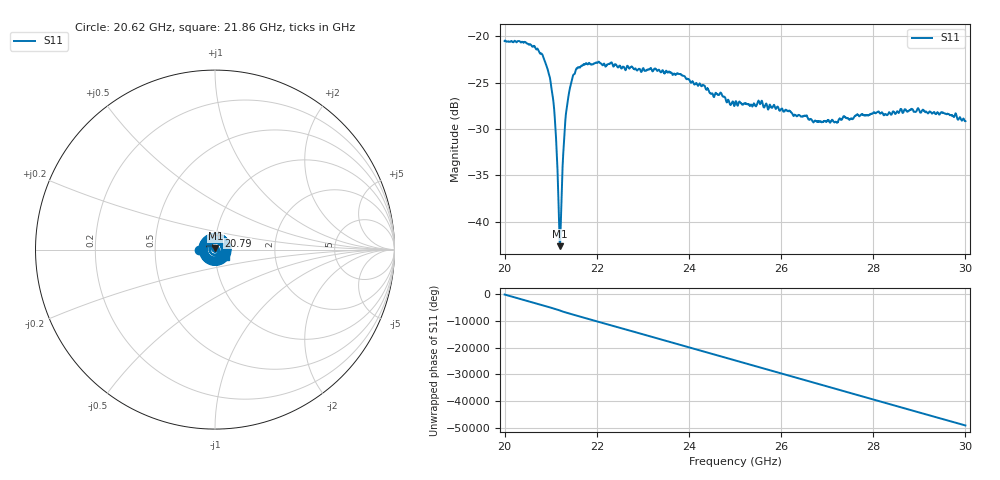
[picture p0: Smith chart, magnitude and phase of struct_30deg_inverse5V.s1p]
#  HZ  S  RI  R  50.00
! Rohde & Schwarz ZVA40 4Ports - Version 3.90 - 1145.1110k42 SN: 100403
! Date: 2023-09-28 10:30:23
! Measurement: S12
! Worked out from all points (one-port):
!   5001 points, 20 GHz to 30 GHz, reference 50 ohm
!   lowest |S11| = -42.7 dB at 21.2 GHz (marker M1), VSWR 1.01, Z = 50.2 + j0.716 ohm
!   |S11| at or under -10 dB: start of sweep to end of sweep
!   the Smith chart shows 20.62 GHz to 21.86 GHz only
!   S11 on the Smith chart (normalised r, x): 20.62 GHz: 0.84, -0.01; 20.79 GHz: 1.02, +0.16; 21.86 GHz: 1.12, -0.09
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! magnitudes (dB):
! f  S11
! 20 GHz  -20.5
! 20.62 GHz  -21.1
! 20.79 GHz  -21.9
! 20.94 GHz  -23.8
! 21.04 GHz  -26.2
! 21.1 GHz  -29.3
! 21.12 GHz  -31.6
! 21.17 GHz  -37.6
! 21.18 GHz  -40.6
! 21.2 GHz  -42.7
! 21.22 GHz  -39.3
! 21.25 GHz  -35.2
! 21.29 GHz  -31.5
! 21.33 GHz  -28.6
! 21.37 GHz  -27.0
! 21.44 GHz  -25.1
! 21.58 GHz  -23.5
! 21.86 GHz  -23.0
! 22.5 GHz  -23.2
! 23.75 GHz  -24.0
! 25 GHz  -27.3
! 25.55 GHz  -27.3
! 26.25 GHz  -28.4
! 26.73 GHz  -29.2
! 27.5 GHz  -29.0
! 28.75 GHz  -28.1
! 29.51 GHz  -28.2
! 30 GHz  -29.2
